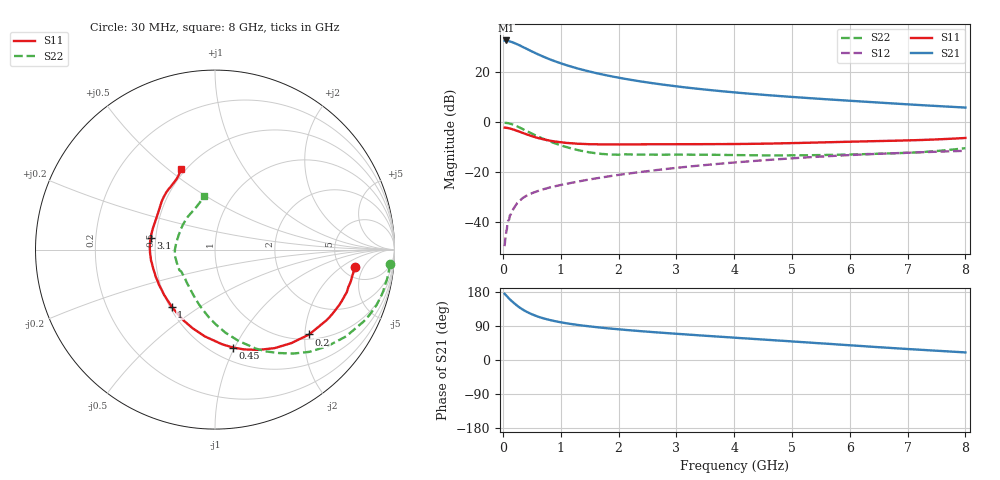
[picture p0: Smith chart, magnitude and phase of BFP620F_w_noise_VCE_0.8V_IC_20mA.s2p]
! Infineon Technologies  Discrete & RF Semiconductors
! BFP620F
! VCE =  0.8 V,  IC =  20 mA
! Common Emitter S-Parameters:  Dec 2014
# GHz  S  MA  R  50
!  f  S11  S21  S12  S22
! GHz  MAG  ANG  MAG  ANG  MAG  ANG  MAG  ANG
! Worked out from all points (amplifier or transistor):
!   95 points, 30 MHz to 8 GHz, reference 50 ohm
!   highest |S21| = 32.8 dB at 50 MHz (marker M1)
!   |S21| within 3 dB of that: start of sweep to 379.8 MHz
!   unconditionally stable (mu >= 1): 2.956 GHz to end of sweep
!   at 300 MHz: K = 0.29, MSG = 31.0 dB, |S12| = -31.2 dB
!   at 3.3 GHz: K = 1.01, MAG = 14.9 dB, |S12| = -17.5 dB
!   at 8 GHz: K = 1.07, MAG = 7.1 dB, |S12| = -11.4 dB
!   lowest NFmin = 0.84 dB at 450 MHz
!   S11 on the Smith chart (normalised r, x): 30 MHz: 6.55, -3.29; 200 MHz: 1.12, -2.11; 450 MHz: 0.63, -0.99; 1 GHz: 0.51, -0.39; 3.1 GHz: 0.47, +0.07; 8 GHz: 0.47, +0.56
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0.03  0.7834 -7.1  43.37 175.0  0.0033 84.7  0.9759 -4.7
0.05  0.7782 -11.3  43.66 171.5  0.0054 94.3  0.9744 -8.3
0.08  0.7717 -17.9  43.23 166.6  0.0096 83.9  0.9659 -13.8
0.13  0.7459 -28.6  41.45 158.7  0.0138 79.7  0.9364 -22.5
0.2  0.7065 -42.0  38.68 149.2  0.0199 73.0  0.8759 -33.5
0.25  0.6725 -50.8  36.57 142.9  0.0243 68.5  0.8264 -40.6
0.3  0.6417 -58.8  34.37 137.4  0.0275 65.2  0.7762 -47.2
0.35  0.6094 -66.5  32.09 132.5  0.0308 62.7  0.726 -52.9
0.45  0.5547 -79.6  28.17 124.3  0.0356 59.8  0.6361 -63.2
0.5  0.529 -85.7  26.38 120.8  0.0379 58.5  0.5956 -67.7
0.6  0.4875 -96.5  23.26 114.8  0.0418 56.9  0.524 -75.7
0.7  0.4564 -105.6  20.67 109.9  0.0456 55.9  0.4666 -82.8
0.8  0.4327 -113.6  18.52 106.0  0.049 55.3  0.4188 -89.1
1  0.3993 -127.3  15.24 99.5  0.0555 55.1  0.3465 -100.5
1.4  0.3689 -147.6  11.13 90.5  0.0684 55.3  0.2624 -121.3
1.9  0.3597 -165.1  8.255 82.4  0.0851 55.2  0.2257 -143.7
2.7  0.3634 176.6  5.839 72.5  0.1119 52.8  0.2246 -164.5
3.1  0.3646 169.6  5.096 68.2  0.1257 51.2  0.2251 -171.3
4.1  0.3685 154.7  3.891 57.9  0.16 45.9  0.2201 174.2
5.4  0.3929 140.4  2.999 44.9  0.2027 37.4  0.2201 151.8
6.7  0.4259 126.6  2.407 31.9  0.2384 27.6  0.2386 128.2
8  0.486 112.8  1.975 20.0  0.2684 18.1  0.303 101.4
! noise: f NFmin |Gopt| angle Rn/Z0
0.45  0.84  0.05  2  0.21
0.9  0.9  0.04  6  0.18
1.5  0.94  0.04  8  0.15
1.8  0.96  0.04  9  0.15
1.9  0.97  0.01  28  0.15
2.4  1.01  0.01  88  0.15
3.5  1.08  0.04  -178  0.15
5.5  1.22  0.15  230  0.1
6  1.25  0.15  253  0.14
